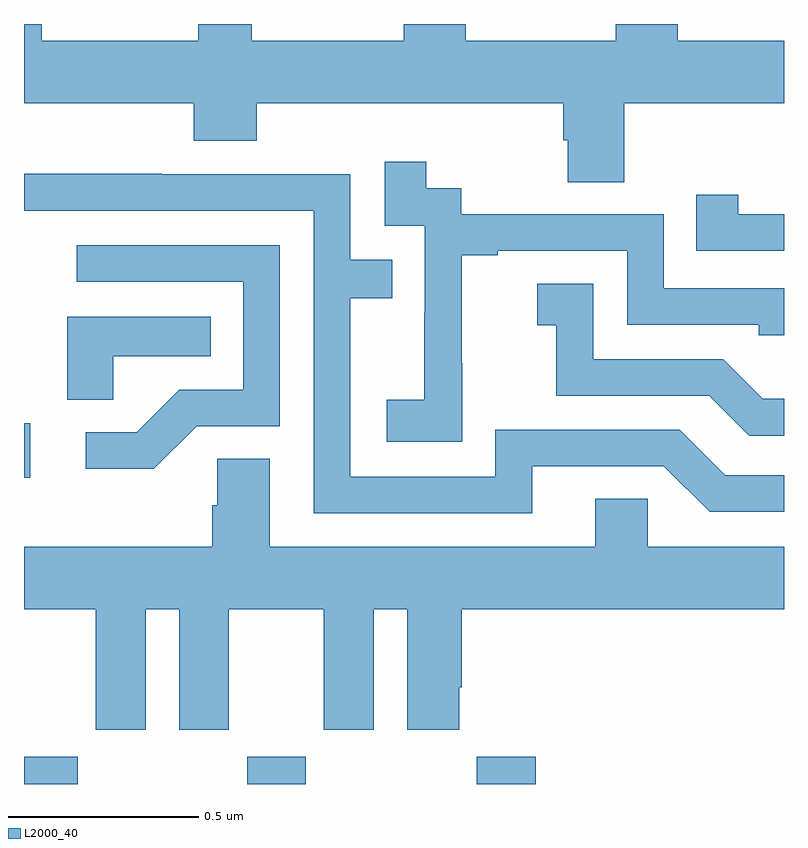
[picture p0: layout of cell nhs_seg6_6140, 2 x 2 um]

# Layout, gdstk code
import gdstk
lib = gdstk.Library(unit=1e-6, precision=1e-09)
def R(c, l, rs):  # rectangles x0, y0, x1, y1
    for r in rs: c.add(gdstk.rectangle(r[:2], r[2:], *l))
def P(c, l, *ps):  # polygons
    for p in ps: c.add(gdstk.Polygon(p, *l))
L2000_40 = (2000, 40)

nhs_seg6_6140 = lib.new_cell('nhs_seg6_6140')
R(nhs_seg6_6140, L2000_40, [(191,989.5,191.142,989.572), (191.587,989.5,191.742,989.572), (192.191,989.5,192.347,989.572), (191,990.306,191.017,990.45)])
P(nhs_seg6_6140, L2000_40, [(192.579,991.292),(193,991.292),(193,991.456),(192.721,991.456),(192.721,991.5),(192.557,991.5),(192.557,991.456),(192.163,991.456),(192.163,991.5),(191.999,991.5),(191.999,991.456),(191.599,991.456),(191.599,991.5),(191.459,991.5),(191.459,991.456),(191.047,991.456),(191.047,991.5),(191,991.5),(191,991.292),(191.447,991.292),(191.447,991.193),(191.612,991.193),(191.612,991.292),(192.419,991.292),(192.419,991.194),(192.431,991.194),(192.431,991.084),(192.579,991.084)],
  [(192.153,990.607),(192.152,990.607),(192.152,990.891),(192.247,990.891),(192.247,990.903),(192.588,990.903),(192.588,990.708),(192.933,990.708),(192.933,990.681),(193,990.681),(193,990.804),(192.684,990.804),(192.684,990.999),(192.15,990.999),(192.15,991.068),(192.058,991.068),(192.058,991.138),(191.949,991.138),(191.949,990.969),(192.054,990.969),(192.054,990.74),(192.053,990.74),(192.053,990.511),(191.955,990.511),(191.955,990.401),(192.153,990.401)],
  [(192.337,990.336),(192.684,990.336),(192.804,990.216),(193,990.216),(193,990.312),(192.846,990.312),(192.726,990.432),(192.24,990.432),(192.24,990.309),(191.859,990.309),(191.859,990.778),(191.969,990.778),(191.969,990.879),(191.859,990.879),(191.859,991.104),(191.363,991.104),(191.363,991.106),(191,991.106),(191,991.008),(191.763,991.008),(191.763,990.213),(192.337,990.213)],
  [(193,990.999),(192.88,990.999),(192.88,991.051),(192.769,991.051),(192.769,990.903),(193,990.903)],
  [(191.454,990.441),(191.673,990.441),(191.673,990.918),(191.139,990.918),(191.139,990.822),(191.577,990.822),(191.577,990.537),(191.408,990.537),(191.297,990.426),(191.163,990.426),(191.163,990.329),(191.341,990.329)],
  [(193,990.514),(192.944,990.514),(192.84,990.618),(192.498,990.618),(192.498,990.817),(192.351,990.817),(192.351,990.707),(192.4,990.707),(192.4,990.522),(192.803,990.522),(192.908,990.417),(193,990.417)],
  [(191.235,990.626),(191.492,990.626),(191.492,990.73),(191.114,990.73),(191.114,990.511),(191.235,990.511)],
  [(191.32,989.96),(191.408,989.96),(191.408,989.643),(191.539,989.643),(191.539,989.96),(191.789,989.96),(191.789,989.643),(191.92,989.643),(191.92,989.96),(192.008,989.96),(192.008,989.643),(192.145,989.643),(192.145,989.755),(192.152,989.755),(192.152,989.96),(193,989.96),(193,990.124),(192.642,990.124),(192.642,990.251),(192.503,990.251),(192.503,990.124),(191.647,990.124),(191.647,990.356),(191.508,990.356),(191.508,990.233),(191.495,990.233),(191.495,990.124),(191,990.124),(191,989.96),(191.189,989.96),(191.189,989.643),(191.32,989.643)])

lib.write_gds('nhs_seg6_6140.gds')
